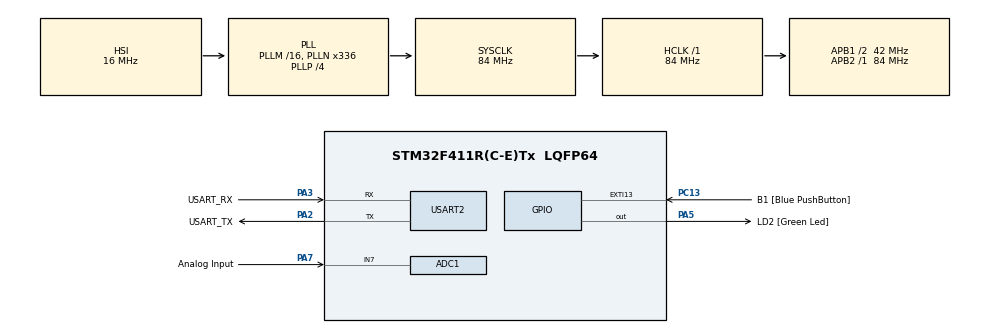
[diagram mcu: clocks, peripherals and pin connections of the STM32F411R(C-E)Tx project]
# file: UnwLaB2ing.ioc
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ADC1.Channel-2\#ChannelRegularConversion=ADC_CHANNEL_7
ADC1.ContinuousConvMode=DISABLE
ADC1.NbrOfConversion=1
ADC1.NbrOfConversionFlag=1
ADC1.Rank-2\#ChannelRegularConversion=1
ADC1.SamplingTime-2\#ChannelRegularConversion=ADC_SAMPLETIME_3CYCLES
ADC1.ScanConvMode=DISABLE
ADC1.master=1
Dma.ADC1.0.Direction=DMA_PERIPH_TO_MEMORY
Dma.ADC1.0.FIFOMode=DMA_FIFOMODE_DISABLE
Dma.ADC1.0.Instance=DMA2_Stream0
Dma.ADC1.0.MemDataAlignment=DMA_MDATAALIGN_WORD
Dma.ADC1.0.MemInc=DMA_MINC_ENABLE
Dma.ADC1.0.Mode=DMA_CIRCULAR
Dma.ADC1.0.PeriphDataAlignment=DMA_PDATAALIGN_WORD
Dma.ADC1.0.PeriphInc=DMA_PINC_DISABLE
Dma.ADC1.0.Priority=DMA_PRIORITY_LOW
Dma.Request0=ADC1
Mcu.Family=STM32F4
Mcu.Name=STM32F411R(C-E)Tx
Mcu.Package=LQFP64
NVIC.DMA2_Stream0_IRQn=true\:0\:0\:false\:false\:true\:false\:true
NVIC.PriorityGroup=NVIC_PRIORITYGROUP_0
PA13.GPIO_Label=TMS
PA13.Mode=Serial_Wire
PA13.Signal=SYS_JTMS-SWDIO
PA14.GPIO_Label=TCK
PA14.Mode=Serial_Wire
PA14.Signal=SYS_JTCK-SWCLK
PA2.GPIO_Label=USART_TX
PA2.Mode=Asynchronous
PA2.Signal=USART2_TX
PA3.GPIO_Label=USART_RX
PA3.Mode=Asynchronous
PA3.Signal=USART2_RX
PA5.GPIO_Label=LD2 [Green Led]
PA5.Signal=GPIO_Output
PA7.GPIO_Label=Analog Input
PA7.Signal=ADCx_IN7
PB3.GPIO_Label=SWO
PB3.Signal=SYS_JTDO-SWO
PC13-ANTI_TAMP.GPIO_Label=B1 [Blue PushButton]
PC13-ANTI_TAMP.GPIO_ModeDefaultEXTI=GPIO_MODE_IT_FALLING
PC13-ANTI_TAMP.Signal=GPXTI13
PC14-OSC32_IN.Mode=LSE-External-Oscillator
PC14-OSC32_IN.Signal=RCC_OSC32_IN
PC15-OSC32_OUT.Mode=LSE-External-Oscillator
PC15-OSC32_OUT.Signal=RCC_OSC32_OUT
PH0\ -\ OSC_IN.Mode=HSE-External-Clock-Source
PH0\ -\ OSC_IN.Signal=RCC_OSC_IN
PH1\ -\ OSC_OUT.Mode=HSE-External-Clock-Source
PH1\ -\ OSC_OUT.Signal=RCC_OSC_OUT
ProjectManager.HeapSize=0x200
ProjectManager.StackSize=0x400
ProjectManager.TargetToolchain=STM32CubeIDE
RCC.48MHZClocksFreq_Value=84000000
RCC.AHBFreq_Value=84000000
RCC.APB1CLKDivider=RCC_HCLK_DIV2
RCC.APB1Freq_Value=42000000
RCC.APB1TimFreq_Value=84000000
RCC.APB2Freq_Value=84000000
RCC.APB2TimFreq_Value=84000000
RCC.CortexFreq_Value=84000000
RCC.FLatency-AdvancedSettings=FLASH_LATENCY_2
RCC.HCLKFreq_Value=84000000
RCC.HSE_VALUE=8000000
RCC.HSI_VALUE=16000000
RCC.PLLN=336
RCC.PLLP=RCC_PLLP_DIV4
RCC.SYSCLKFreq_VALUE=84000000
RCC.SYSCLKSource=RCC_SYSCLKSOURCE_PLLCLK
RCC.VCOOutputFreq_Value=336000000
SH.ADCx_IN7.0=ADC1_IN7,IN7
TIM3.Period=9999
USART2.VirtualMode=VM_ASYNC
VP_TIM3_VS_ClockSourceINT.Mode=Internal
board=NUCLEO-F411RE

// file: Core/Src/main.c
/* USER CODE BEGIN Header */
/**
  ******************************************************************************
  * @file           : main.c
  * @brief          : Main program body
  ******************************************************************************
  * @attention
  *
  * Copyright (c) 2022 STMicroelectronics.
  * All rights reserved.
  *
  * This software is licensed under terms that can be found in the LICENSE file
  * in the root directory of this software component.
  * If no LICENSE file comes with this software, it is provided AS-IS.
  *
  ******************************************************************************
  */
/* USER CODE END Header */
#include "main.h"

/* USER CODE BEGIN Includes */
#include "stdio.h"
/* USER CODE END Includes */

ADC_HandleTypeDef hadc1;
DMA_HandleTypeDef hdma_adc1;

TIM_HandleTypeDef htim3;

UART_HandleTypeDef huart2;

/* USER CODE BEGIN PV */
typedef struct
{
	ADC_ChannelConfTypeDef Config;
	uint16_t data;
}ADCStructure;

ADCStructure ADCChannel;

//uint32_t ADCdata = 0;

float P_n = 0;
float P_n_1 = 0;
float P0_n = 0;
float P0_n_1 = 0;
float Y_n = 0;
float error=0;
/* USER CODE END PV */

void SystemClock_Config(void);
static void MX_GPIO_Init(void);
static void MX_USART2_UART_Init(void);
static void MX_DMA_Init(void);
static void MX_ADC1_Init(void);
static void MX_TIM3_Init(void);
/* USER CODE BEGIN PFP */

void ADCPollingMedthodUpdate();
void ADCConfigInit();

/* USER CODE END PFP */

int main(void)
{

  /* MCU Configuration--------------------------------------------------------*/

  /* Reset of all peripherals, Initializes the Flash interface and the Systick. */
  HAL_Init();

  /* Configure the system clock */
  SystemClock_Config();

  /* Initialize all configured peripherals */
  MX_GPIO_Init();
  MX_USART2_UART_Init();
  MX_DMA_Init();
  MX_ADC1_Init();
  MX_TIM3_Init();
  /* USER CODE BEGIN 2 */
  ADCConfigInit();

  /* USER CODE END 2 */

  /* Infinite loop */
  while (1)
  {

    /* USER CODE BEGIN 3 */
	  static uint32_t timestamp = 0;

	  if (HAL_GetTick() - timestamp >= 100)
	  {
		  timestamp = HAL_GetTick();
		  //calling function
		  ADCPollingMedthodUpdate();
//		  HAL_ADC_Start_DMA(&hadc1, &ADCdata, 1);
		  P_n = ADCChannel.data;
//		  P_n = ADCdata;
//		  error=P_n-P_n_1;

		  if (P_n - P_n_1 <= -2047.5)
		  {
			  P0_n = P0_n_1 + 4095;
		  }
		  else if (P_n - P_n_1 >= 2047.5)
		  {
			  P0_n = P0_n_1 - 4095;
		  }
		  else
		  {
			  P0_n = P0_n_1;
		  }

		  P_n_1 = P_n;
		  P0_n_1 = P0_n;
		  Y_n = P0_n + P_n;
	  }

  }
  /* USER CODE END 3 */
}

void SystemClock_Config(void)
{
  RCC_OscInitTypeDef RCC_OscInitStruct = {0};
  RCC_ClkInitTypeDef RCC_ClkInitStruct = {0};

  /** Configure the main internal regulator output voltage
  */
  __HAL_RCC_PWR_CLK_ENABLE();
  __HAL_PWR_VOLTAGESCALING_CONFIG(PWR_REGULATOR_VOLTAGE_SCALE1);
  /** Initializes the RCC Oscillators according to the specified parameters
  * in the RCC_OscInitTypeDef structure.
  */
  RCC_OscInitStruct.OscillatorType = RCC_OSCILLATORTYPE_HSI;
  RCC_OscInitStruct.HSIState = RCC_HSI_ON;
  RCC_OscInitStruct.HSICalibrationValue = RCC_HSICALIBRATION_DEFAULT;
  RCC_OscInitStruct.PLL.PLLState = RCC_PLL_ON;
  RCC_OscInitStruct.PLL.PLLSource = RCC_PLLSOURCE_HSI;
  RCC_OscInitStruct.PLL.PLLM = 16;
  RCC_OscInitStruct.PLL.PLLN = 336;
  RCC_OscInitStruct.PLL.PLLP = RCC_PLLP_DIV4;
  RCC_OscInitStruct.PLL.PLLQ = 4;
  if (HAL_RCC_OscConfig(&RCC_OscInitStruct) != HAL_OK)
  {
    Error_Handler();
  }
  /** Initializes the CPU, AHB and APB buses clocks
  */
  RCC_ClkInitStruct.ClockType = RCC_CLOCKTYPE_HCLK|RCC_CLOCKTYPE_SYSCLK
                              |RCC_CLOCKTYPE_PCLK1|RCC_CLOCKTYPE_PCLK2;
  RCC_ClkInitStruct.SYSCLKSource = RCC_SYSCLKSOURCE_PLLCLK;
  RCC_ClkInitStruct.AHBCLKDivider = RCC_SYSCLK_DIV1;
  RCC_ClkInitStruct.APB1CLKDivider = RCC_HCLK_DIV2;
  RCC_ClkInitStruct.APB2CLKDivider = RCC_HCLK_DIV1;

  if (HAL_RCC_ClockConfig(&RCC_ClkInitStruct, FLASH_LATENCY_2) != HAL_OK)
  {
    Error_Handler();
  }
}

static void MX_ADC1_Init(void)
{

  ADC_ChannelConfTypeDef sConfig = {0};

  /** Configure the global features of the ADC (Clock, Resolution, Data Alignment and number of conversion)
  */
  hadc1.Instance = ADC1;
  hadc1.Init.ClockPrescaler = ADC_CLOCK_SYNC_PCLK_DIV4;
  hadc1.Init.Resolution = ADC_RESOLUTION_12B;
  hadc1.Init.ScanConvMode = DISABLE;
  hadc1.Init.ContinuousConvMode = DISABLE;
  hadc1.Init.DiscontinuousConvMode = DISABLE;
  hadc1.Init.ExternalTrigConvEdge = ADC_EXTERNALTRIGCONVEDGE_NONE;
  hadc1.Init.ExternalTrigConv = ADC_SOFTWARE_START;
  hadc1.Init.DataAlign = ADC_DATAALIGN_RIGHT;
  hadc1.Init.NbrOfConversion = 1;
  hadc1.Init.DMAContinuousRequests = DISABLE;
  hadc1.Init.EOCSelection = ADC_EOC_SINGLE_CONV;
  if (HAL_ADC_Init(&hadc1) != HAL_OK)
  {
    Error_Handler();
  }
  /** Configure for the selected ADC regular channel its corresponding rank in the sequencer and its sample time.
  */
  sConfig.Channel = ADC_CHANNEL_7;
  sConfig.Rank = 1;
  sConfig.SamplingTime = ADC_SAMPLETIME_3CYCLES;
  if (HAL_ADC_ConfigChannel(&hadc1, &sConfig) != HAL_OK)
  {
    Error_Handler();
  }

}

static void MX_TIM3_Init(void)
{

  TIM_ClockConfigTypeDef sClockSourceConfig = {0};
  TIM_MasterConfigTypeDef sMasterConfig = {0};

  htim3.Instance = TIM3;
  htim3.Init.Prescaler = 0;
  htim3.Init.CounterMode = TIM_COUNTERMODE_UP;
  htim3.Init.Period = 9999;
  htim3.Init.ClockDivision = TIM_CLOCKDIVISION_DIV1;
  htim3.Init.AutoReloadPreload = TIM_AUTORELOAD_PRELOAD_DISABLE;
  if (HAL_TIM_Base_Init(&htim3) != HAL_OK)
  {
    Error_Handler();
  }
  sClockSourceConfig.ClockSource = TIM_CLOCKSOURCE_INTERNAL;
  if (HAL_TIM_ConfigClockSource(&htim3, &sClockSourceConfig) != HAL_OK)
  {
    Error_Handler();
  }
  sMasterConfig.MasterOutputTrigger = TIM_TRGO_RESET;
  sMasterConfig.MasterSlaveMode = TIM_MASTERSLAVEMODE_DISABLE;
  if (HAL_TIMEx_MasterConfigSynchronization(&htim3, &sMasterConfig) != HAL_OK)
  {
    Error_Handler();
  }

}

static void MX_USART2_UART_Init(void)
{

  huart2.Instance = USART2;
  huart2.Init.BaudRate = 115200;
  huart2.Init.WordLength = UART_WORDLENGTH_8B;
  huart2.Init.StopBits = UART_STOPBITS_1;
  huart2.Init.Parity = UART_PARITY_NONE;
  huart2.Init.Mode = UART_MODE_TX_RX;
  huart2.Init.HwFlowCtl = UART_HWCONTROL_NONE;
  huart2.Init.OverSampling = UART_OVERSAMPLING_16;
  if (HAL_UART_Init(&huart2) != HAL_OK)
  {
    Error_Handler();
  }

}

static void MX_DMA_Init(void)
{

  /* DMA controller clock enable */
  __HAL_RCC_DMA2_CLK_ENABLE();

  /* DMA interrupt init */
  /* DMA2_Stream0_IRQn interrupt configuration */
  HAL_NVIC_SetPriority(DMA2_Stream0_IRQn, 0, 0);
  HAL_NVIC_EnableIRQ(DMA2_Stream0_IRQn);

}

static void MX_GPIO_Init(void)
{
  GPIO_InitTypeDef GPIO_InitStruct = {0};

  /* GPIO Ports Clock Enable */
  __HAL_RCC_GPIOC_CLK_ENABLE();
  __HAL_RCC_GPIOH_CLK_ENABLE();
  __HAL_RCC_GPIOA_CLK_ENABLE();
  __HAL_RCC_GPIOB_CLK_ENABLE();

  /*Configure GPIO pin Output Level */
  HAL_GPIO_WritePin(LD2_GPIO_Port, LD2_Pin, GPIO_PIN_RESET);

  /*Configure GPIO pin : B1_Pin */
  GPIO_InitStruct.Pin = B1_Pin;
  GPIO_InitStruct.Mode = GPIO_MODE_IT_FALLING;
  GPIO_InitStruct.Pull = GPIO_NOPULL;
  HAL_GPIO_Init(B1_GPIO_Port, &GPIO_InitStruct);

  /*Configure GPIO pin : LD2_Pin */
  GPIO_InitStruct.Pin = LD2_Pin;
  GPIO_InitStruct.Mode = GPIO_MODE_OUTPUT_PP;
  GPIO_InitStruct.Pull = GPIO_NOPULL;
  GPIO_InitStruct.Speed = GPIO_SPEED_FREQ_LOW;
  HAL_GPIO_Init(LD2_GPIO_Port, &GPIO_InitStruct);

}

/* USER CODE BEGIN 4 */
void ADCConfigInit()
{
	ADCChannel.Config.Channel = ADC_CHANNEL_7;
	ADCChannel.Config.Rank =1;
	ADCChannel.Config.SamplingTime = ADC_SAMPLETIME_3CYCLES;
}

void ADCPollingMedthodUpdate()
{
	//setting channel of ADC
	HAL_ADC_ConfigChannel(&hadc1, &ADCChannel.Config);

	//start sampling
	HAL_ADC_Start(&hadc1);

	//wait for sampling and conversion
	if (HAL_ADC_PollForConversion(&hadc1, 10) == HAL_OK)
	{
	//Read data
	ADCChannel.data = HAL_ADC_GetValue(&hadc1);
	}

	//Stop adc
	HAL_ADC_Stop(&hadc1);
}
/* USER CODE END 4 */

void Error_Handler(void)
{
  __disable_irq();
  while (1)
  {
  }
}
